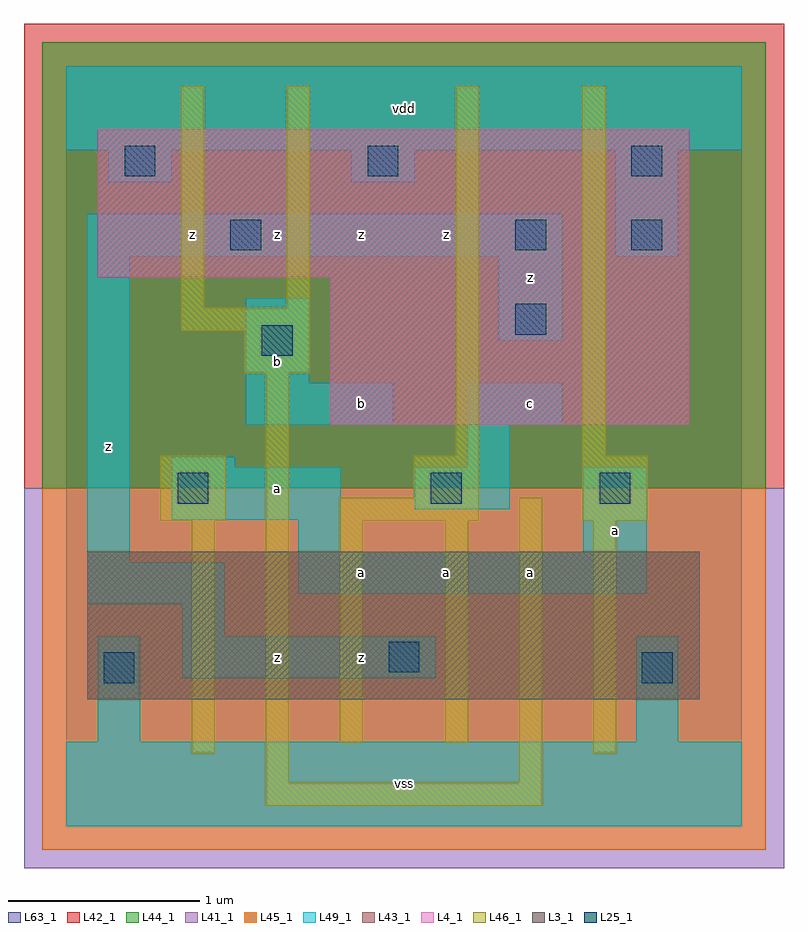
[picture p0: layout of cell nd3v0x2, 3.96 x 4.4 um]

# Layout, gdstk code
import gdstk
lib = gdstk.Library(unit=1e-6, precision=1e-09)
def R(c, l, rs):  # rectangles x0, y0, x1, y1
    for r in rs: c.add(gdstk.rectangle(r[:2], r[2:], *l))
L3_1 = (3, 1)
L4_1 = (4, 1)
L25_1 = (25, 1)
L41_1 = (41, 1)
L42_1 = (42, 1)
L43_1 = (43, 1)
L44_1 = (44, 1)
L45_1 = (45, 1)
L46_1 = (46, 1)
L49_1 = (49, 1)
L63_1 = (63, 1)

nd3v0x2 = lib.new_cell('nd3v0x2')
R(nd3v0x2, L3_1, [(0.11,0.66,3.3,1.43)])
R(nd3v0x2, L4_1, [(1.375,2.09,3.245,2.86), (0.165,2.86,3.245,3.63)])
R(nd3v0x2, L25_1, [(0.195,0.745,0.355,0.905), (3,0.745,3.16,0.905), (1.68,0.8,1.84,0.96), (0.58,1.68,0.74,1.84), (1.9,1.68,2.06,1.84), (2.78,1.68,2.94,1.84), (1.02,2.45,1.18,2.61), (2.34,2.56,2.5,2.72), (0.855,3,1.015,3.16), (2.34,3,2.5,3.16), (2.945,3,3.105,3.16), (0.305,3.385,0.465,3.545), (1.57,3.385,1.73,3.545), (2.945,3.385,3.105,3.545)])
R(nd3v0x2, L41_1, [(-0.22,-0.22,3.74,1.76)])
R(nd3v0x2, L42_1, [(-0.22,1.76,3.74,4.18)])
R(nd3v0x2, L43_1, [(0.11,0.66,3.3,1.43), (1.375,2.09,3.245,2.86), (0.165,2.86,3.245,3.63)])
R(nd3v0x2, L44_1, [(-0.125,1.76,3.645,4.085)])
R(nd3v0x2, L45_1, [(-0.125,-0.125,3.645,1.76)])
R(nd3v0x2, L46_1, [(1.04,0.105,2.48,0.225), (1.04,0.225,1.16,2.36), (2.36,0.225,2.48,1.71), (0.655,0.38,0.775,1.59), (2.745,0.38,2.865,1.59), (1.425,0.435,1.545,1.59), (1.975,0.435,2.095,1.59), (0.49,1.59,0.83,1.93), (1.425,1.59,2.15,1.71), (2.69,1.59,3.03,1.93), (1.81,1.71,2.15,1.93), (2.03,1.93,2.15,3.855), (2.69,1.93,2.81,3.855), (0.93,2.36,1.27,2.58), (0.6,2.58,1.27,2.7), (0.6,2.7,0.72,3.855), (1.15,2.7,1.27,3.855)])
R(nd3v0x2, L49_1, [(0,0,3.52,0.44), (0.165,0.44,0.385,0.99), (2.97,0.44,3.19,0.99), (0.605,0.77,1.925,0.99), (0.605,0.99,0.825,1.155), (0.11,1.155,0.825,1.375), (1.21,1.21,3.025,1.43), (0.11,1.375,0.33,2.97), (1.21,1.43,1.43,1.595), (2.695,1.43,3.025,1.87), (0.55,1.595,1.43,1.87), (1.815,1.65,2.31,1.87), (0.55,1.87,0.88,1.925), (2.09,1.87,2.31,2.09), (0.935,2.09,1.705,2.31), (2.09,2.09,2.585,2.31), (0.935,2.31,1.265,2.75), (2.255,2.53,2.585,2.97), (0.11,2.97,2.585,3.19), (2.86,2.97,3.19,3.52), (0.22,3.355,0.55,3.52), (1.485,3.355,1.815,3.52), (0,3.52,3.52,3.96)])
R(nd3v0x2, L63_1, [(0,0,3.52,3.96)])
nd3v0x2.add(gdstk.Label('z', (0.22,1.98), layer=49, texttype=1))
nd3v0x2.add(gdstk.Label('z', (1.1,0.88), layer=49, texttype=1))
nd3v0x2.add(gdstk.Label('a', (1.1,1.76), layer=49, texttype=1))
nd3v0x2.add(gdstk.Label('b', (1.1,2.42), layer=49, texttype=1))
nd3v0x2.add(gdstk.Label('z', (1.1,3.08), layer=49, texttype=1))
nd3v0x2.add(gdstk.Label('z', (0.66,3.08), layer=49, texttype=1))
nd3v0x2.add(gdstk.Label('vss', (1.76,0.22), layer=49, texttype=1))
nd3v0x2.add(gdstk.Label('z', (1.54,0.88), layer=49, texttype=1))
nd3v0x2.add(gdstk.Label('a', (1.54,1.32), layer=49, texttype=1))
nd3v0x2.add(gdstk.Label('a', (1.98,1.32), layer=49, texttype=1))
nd3v0x2.add(gdstk.Label('b', (1.54,2.2), layer=49, texttype=1))
nd3v0x2.add(gdstk.Label('z', (1.98,3.08), layer=49, texttype=1))
nd3v0x2.add(gdstk.Label('z', (1.54,3.08), layer=49, texttype=1))
nd3v0x2.add(gdstk.Label('vdd', (1.76,3.74), layer=49, texttype=1))
nd3v0x2.add(gdstk.Label('a', (2.42,1.32), layer=49, texttype=1))
nd3v0x2.add(gdstk.Label('c', (2.42,2.2), layer=49, texttype=1))
nd3v0x2.add(gdstk.Label('z', (2.42,2.86), layer=49, texttype=1))
nd3v0x2.add(gdstk.Label('a', (2.86,1.54), layer=49, texttype=1))

lib.write_gds('nd3v0x2.gds')
